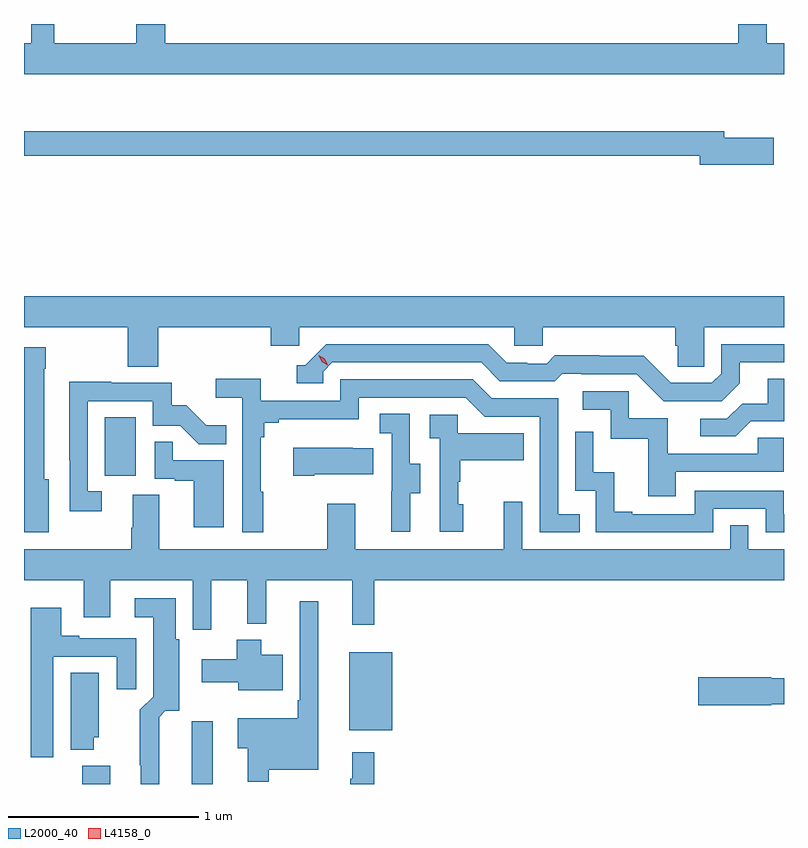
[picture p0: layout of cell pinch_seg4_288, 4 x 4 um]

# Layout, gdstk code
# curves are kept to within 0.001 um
import gdstk
lib = gdstk.Library(unit=1e-6, precision=1e-09)
def R(c, l, rs):  # rectangles x0, y0, x1, y1
    for r in rs: c.add(gdstk.rectangle(r[:2], r[2:], *l))
def P(c, l, *ps):  # polygons
    for p in ps: c.add(gdstk.Polygon(p, *l))
L2000_40 = (2000, 40)
L4158_0 = (4158, 0)

pinch_seg4_288 = lib.new_cell('pinch_seg4_288')
R(pinch_seg4_288, L2000_40, [(901.354,805.072,901.501,805.168), (901.931,805.072,902.041,805.402), (902.759,805.355,902.986,805.765), (901.472,806.694,901.636,807.001)])
P(pinch_seg4_288, L2000_40, [(905.047,808.972),(904.957,808.972),(904.957,809.072),(904.805,809.072),(904.805,808.972),(901.79,808.972),(901.79,809.072),(901.637,809.072),(901.637,808.972),(901.207,808.972),(901.207,809.072),(901.086,809.072),(901.086,808.972),(901.047,808.972),(901.047,808.808),(905.047,808.808)],
  [(904.993,808.473),(904.732,808.473),(904.732,808.507),(901.047,808.507),(901.047,808.378),(904.604,808.378),(904.604,808.331),(904.993,808.331)],
  [(901.754,807.476),(902.345,807.476),(902.345,807.378),(902.496,807.378),(902.496,807.476),(903.627,807.476),(903.627,807.378),(903.777,807.378),(903.777,807.476),(904.475,807.476),(904.475,807.378),(904.489,807.378),(904.489,807.268),(904.626,807.268),(904.626,807.476),(905.047,807.476),(905.047,807.64),(901.047,807.64),(901.047,807.476),(901.594,807.476),(901.594,807.268),(901.754,807.268)],
  [(904.813,807.181),(904.813,807.291),(905.047,807.291),(905.047,807.387),(904.716,807.387),(904.716,807.231),(904.668,807.183),(904.452,807.183),(904.31,807.325),(904.074,807.325),(904.074,807.328),(903.841,807.328),(903.799,807.285),(903.696,807.285),(903.696,807.288),(903.589,807.288),(903.49,807.387),(902.637,807.387),(902.526,807.276),(902.483,807.276),(902.483,807.18),(902.622,807.18),(902.622,807.243),(902.67,807.291),(903.453,807.291),(903.552,807.192),(903.841,807.192),(903.88,807.231),(903.979,807.231),(903.979,807.228),(904.272,807.228),(904.413,807.087),(904.719,807.087)],
  [(901.177,806.676),(901.153,806.676),(901.153,807.257),(901.161,807.257),(901.161,807.37),(901.047,807.37),(901.047,806.397),(901.177,806.397)],
  [(904.873,806.982),(905.047,806.982),(905.047,807.206),(904.961,807.206),(904.961,807.074),(904.826,807.074),(904.746,806.994),(904.605,806.994),(904.605,806.901),(904.792,806.901)],
  [(902.305,806.609),(902.293,806.609),(902.293,806.897),(902.312,806.897),(902.312,806.974),(902.389,806.974),(902.389,806.993),(902.808,806.993),(902.808,807.105),(903.372,807.105),(903.471,807.006),(903.762,807.006),(903.762,806.397),(903.971,806.397),(903.971,806.493),(903.858,806.493),(903.858,807.102),(903.508,807.102),(903.409,807.201),(902.712,807.201),(902.712,807.09),(902.294,807.09),(902.294,807.206),(902.055,807.206),(902.055,807.104),(902.196,807.104),(902.196,806.397),(902.305,806.397)],
  [(901.456,806.613),(901.383,806.613),(901.383,807.087),(901.725,807.087),(901.725,806.958),(901.869,806.958),(901.967,806.86),(902.111,806.86),(902.111,806.959),(902.007,806.959),(901.9,807.066),(901.824,807.066),(901.824,807.183),(901.505,807.183),(901.505,807.188),(901.286,807.188),(901.287,806.508),(901.456,806.508)],
  [(904.477,806.715),(905.046,806.715),(905.046,806.895),(904.909,806.895),(904.909,806.811),(904.435,806.811),(904.435,806.997),(904.23,806.997),(904.23,807.138),(903.987,807.138),(903.987,807.042),(904.134,807.042),(904.134,806.889),(904.333,806.889),(904.333,806.586),(904.477,806.586)],
  [(903.079,806.602),(903.133,806.602),(903.133,806.757),(903.078,806.757),(903.078,807.02),(902.919,807.02),(902.919,806.917),(902.982,806.917),(902.982,806.613),(902.981,806.613),(902.981,806.4),(903.079,806.4)],
  [(903.358,806.544),(903.333,806.544),(903.333,806.663),(903.343,806.663),(903.343,806.777),(903.677,806.777),(903.677,806.917),(903.33,806.917),(903.33,807.015),(903.183,807.015),(903.183,806.891),(903.234,806.891),(903.234,806.4),(903.358,806.4)],
  [(904.674,806.52),(904.95,806.52),(904.95,806.397),(905.047,806.397),(905.047,806.493),(905.046,806.493),(905.046,806.616),(904.578,806.616),(904.578,806.493),(904.249,806.493),(904.249,806.506),(904.154,806.506),(904.154,806.714),(904.044,806.714),(904.044,806.926),(903.948,806.926),(903.948,806.616),(904.056,806.616),(904.056,806.397),(904.674,806.397)],
  [(902.098,806.775),(901.829,806.775),(901.829,806.873),(901.734,806.873),(901.734,806.679),(901.841,806.679),(901.841,806.667),(901.94,806.667),(901.94,806.424),(902.098,806.424)],
  [(902.575,806.702),(902.885,806.702),(902.885,806.839),(902.777,806.839),(902.777,806.842),(902.463,806.842),(902.463,806.695),(902.575,806.695)],
  [(902.033,806.144),(902.222,806.144),(902.222,805.916),(902.321,805.916),(902.321,806.144),(902.774,806.144),(902.774,805.911),(902.891,805.911),(902.891,806.144),(905.047,806.144),(905.047,806.308),(904.86,806.308),(904.86,806.435),(904.764,806.435),(904.764,806.308),(903.669,806.308),(903.669,806.557),(903.572,806.557),(903.572,806.308),(902.791,806.308),(902.791,806.548),(902.644,806.548),(902.644,806.308),(901.759,806.308),(901.759,806.594),(901.619,806.594),(901.619,806.42),(901.612,806.42),(901.612,806.308),(901.047,806.308),(901.047,806.144),(901.361,806.144),(901.361,805.95),(901.501,805.95),(901.501,806.144),(901.935,806.144),(901.935,805.884),(902.033,805.884)],
  [(901.759,805.424),(901.791,805.457),(901.864,805.457),(901.864,805.833),(901.846,805.833),(901.846,806.05),(901.629,806.05),(901.629,805.949),(901.727,805.949),(901.727,805.532),(901.657,805.462),(901.657,805.171),(901.661,805.171),(901.661,805.072),(901.759,805.072)],
  [(902.335,805.148),(902.596,805.148),(902.596,806.035),(902.499,806.035),(902.499,805.513),(902.487,805.513),(902.487,805.417),(902.172,805.417),(902.172,805.259),(902.225,805.259),(902.225,805.083),(902.335,805.083)],
  [(901.201,805.743),(901.535,805.743),(901.535,805.572),(901.639,805.572),(901.639,805.839),(901.339,805.839),(901.339,805.852),(901.243,805.852),(901.243,805.999),(901.082,805.999),(901.082,805.212),(901.201,805.212)],
  [(902.41,805.753),(902.296,805.753),(902.296,805.831),(902.167,805.831),(902.167,805.729),(901.983,805.729),(901.983,805.607),(902.174,805.607),(902.174,805.565),(902.41,805.565)],
  [(901.414,805.317),(901.441,805.317),(901.441,805.658),(901.292,805.658),(901.292,805.253),(901.414,805.253)],
  [(904.98,805.492),(905.047,805.492),(905.047,805.628),(904.98,805.628),(904.98,805.634),(904.596,805.634),(904.596,805.487),(904.98,805.487)],
  [(902.891,805.24),(902.774,805.24),(902.774,805.1),(902.763,805.1),(902.763,805.072),(902.891,805.072)])
P(pinch_seg4_288, L4158_0, [(902.645,807.276),(902.614,807.295),(902.598,807.328),(902.598,807.328),(902.598,807.328),(902.629,807.309),(902.645,807.276),(902.645,807.276)])

lib.write_gds('pinch_seg4_288.gds')
